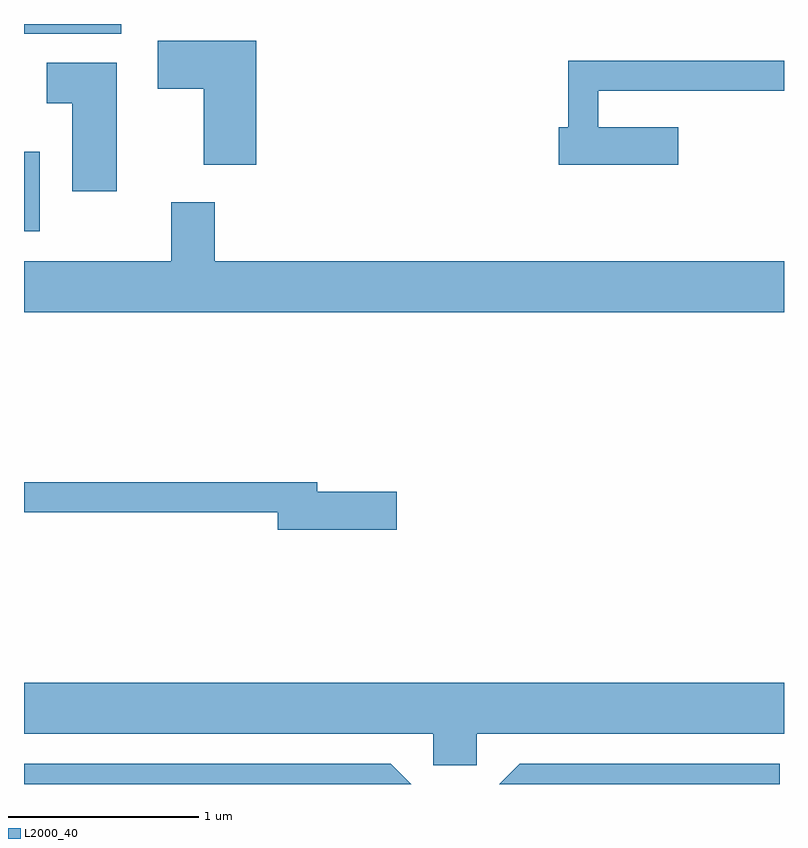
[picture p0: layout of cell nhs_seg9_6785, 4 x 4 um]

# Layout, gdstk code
import gdstk
lib = gdstk.Library(unit=1e-6, precision=1e-09)
def R(c, l, rs):  # rectangles x0, y0, x1, y1
    for r in rs: c.add(gdstk.rectangle(r[:2], r[2:], *l))
def P(c, l, *ps):  # polygons
    for p in ps: c.add(gdstk.Polygon(p, *l))
L2000_40 = (2000, 40)

nhs_seg9_6785 = lib.new_cell('nhs_seg9_6785')
R(nhs_seg9_6785, L2000_40, [(385.611,2003.341,385.694,2003.759), (385.611,2004.381,386.124,2004.432)])
P(nhs_seg9_6785, L2000_40, [(386.834,2004.344),(386.316,2004.344),(386.316,2004.091),(386.556,2004.091),(386.556,2003.691),(386.834,2003.691)],
  [(389.054,2003.889),(388.634,2003.889),(388.634,2004.081),(389.611,2004.081),(389.611,2004.239),(388.476,2004.239),(388.476,2003.889),(388.426,2003.889),(388.426,2003.691),(389.054,2003.691)],
  [(386.099,2004.229),(385.731,2004.229),(385.731,2004.016),(385.866,2004.016),(385.866,2003.551),(386.099,2003.551)],
  [(389.611,2003.184),(386.614,2003.184),(386.614,2003.494),(386.386,2003.494),(386.386,2003.184),(385.611,2003.184),(385.611,2002.916),(389.611,2002.916)],
  [(387.574,2001.969),(387.154,2001.969),(387.154,2002.019),(385.611,2002.019),(385.611,2001.861),(386.946,2001.861),(386.946,2001.771),(387.574,2001.771)],
  [(387.994,2000.696),(389.611,2000.696),(389.611,2000.964),(385.611,2000.964),(385.611,2000.696),(387.766,2000.696),(387.766,2000.531),(387.994,2000.531)],
  [(389.589,2000.539),(388.219,2000.539),(388.112,2000.432),(389.589,2000.432)],
  [(387.542,2000.539),(385.611,2000.539),(385.611,2000.432),(387.649,2000.432)])

lib.write_gds('nhs_seg9_6785.gds')
